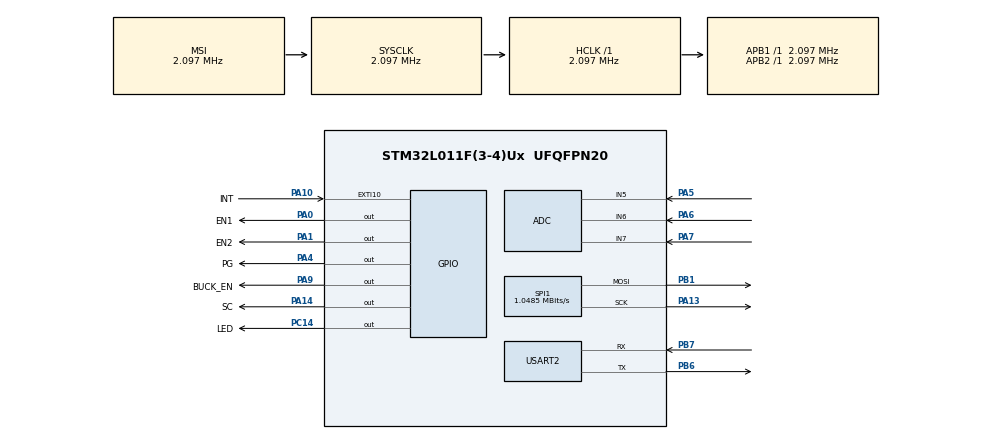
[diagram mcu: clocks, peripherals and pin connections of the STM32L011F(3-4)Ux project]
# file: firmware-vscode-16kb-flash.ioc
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ADC.ContinuousConvMode=ENABLE
ADC.SamplingTime=ADC_SAMPLETIME_160CYCLES_5
Mcu.Family=STM32L0
Mcu.Name=STM32L011F(3-4)Ux
Mcu.Package=UFQFPN20
NVIC.EXTI4_15_IRQn=true\:0\:0\:false\:false\:true\:true\:true\:true
NVIC.RCC_IRQn=true\:0\:0\:false\:false\:true\:true\:false\:true
NVIC.TIM2_IRQn=true\:0\:0\:false\:false\:true\:true\:true\:true
PA0-CK_IN.GPIO_Label=EN1
PA0-CK_IN.Signal=GPIO_Output
PA1.GPIO_Label=EN2
PA1.Signal=GPIO_Output
PA10.GPIO_Label=INT
PA10.Signal=GPXTI10
PA13.Mode=TX_Only_Simplex_Unidirect_Master
PA13.Signal=SPI1_SCK
PA14.GPIO_Label=SC
PA14.Signal=GPIO_Output
PA4.GPIO_Label=PG
PA4.Signal=GPIO_Output
PA5.Mode=IN5
PA5.Signal=ADC_IN5
PA6.Mode=IN6
PA6.Signal=ADC_IN6
PA7.Mode=IN7
PA7.Signal=ADC_IN7
PA9.GPIO_Label=BUCK_EN
PA9.Signal=GPIO_Output
PB1.Mode=TX_Only_Simplex_Unidirect_Master
PB1.Signal=SPI1_MOSI
PB6.Mode=Asynchronous
PB6.Signal=USART2_TX
PB7.Mode=Asynchronous
PB7.Signal=USART2_RX
PC14-OSC32_IN.GPIO_Label=LED
PC14-OSC32_IN.Signal=GPIO_Output
ProjectManager.HeapSize=0x200
ProjectManager.StackSize=0x400
ProjectManager.TargetToolchain=Makefile
RCC.AHBFreq_Value=2097000
RCC.APB1Freq_Value=2097000
RCC.APB1TimFreq_Value=2097000
RCC.APB2Freq_Value=2097000
RCC.APB2TimFreq_Value=2097000
RCC.HSE_VALUE=8000000
RCC.HSI16_VALUE=16000000
RCC.HSI_VALUE=16000000
RCC.LSE_VALUE=32768
RCC.MSI_VALUE=2097000
RCC.SYSCLKFreq_VALUE=2097000
RCC.VCOOutputFreq_Value=48000000
SPI1.CalculateBaudRate=1.0485 MBits/s
SPI1.Direction=SPI_DIRECTION_2LINES
SPI1.Mode=SPI_MODE_MASTER
SPI1.VirtualType=VM_MASTER
TIM2.AutoReloadPreload=TIM_AUTORELOAD_PRELOAD_ENABLE
TIM2.Period=1000
TIM2.Prescaler=2000
USART2.VirtualMode-Asynchronous=VM_ASYNC
VP_ADC_Vref_Input.Mode=IN-Vrefint
VP_TIM2_VS_ClockSourceINT.Mode=Internal
board=custom

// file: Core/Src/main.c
/* USER CODE BEGIN Header */
/**
  ******************************************************************************
  * @file           : main.c
  * @brief          : Main program body
  ******************************************************************************
  * @attention
  *
  * Copyright (c) 2023 STMicroelectronics.
  * All rights reserved.
  *
  * This software is licensed under terms that can be found in the LICENSE file
  * in the root directory of this software component.
  * If no LICENSE file comes with this software, it is provided AS-IS.
  *
  ******************************************************************************
  */
/* USER CODE END Header */
#include "main.h"

/* USER CODE BEGIN PD */

#define VREFINT_CAL_ADDR          ((uint16_t*) ((uint32_t) 0x1FF80078))
#define MIN_VOLTAGE               5000
#define MAX_VOLTAGE               22000
#define MIN_CURRENT               200
#define SLEEP_VOLTAGE             1000
#define MIN_CHARGE_CUTTOF_VOLTAGE 2600

/* USER CODE END PD */

ADC_HandleTypeDef hadc;

SPI_HandleTypeDef hspi1;

TIM_HandleTypeDef htim2;

UART_HandleTypeDef huart2;

void SystemClock_Config(void);
static void MX_GPIO_Init(void);
static void MX_ADC_Init(void);
static void MX_USART2_UART_Init(void);
static void MX_SPI1_Init(void);
static void MX_TIM2_Init(void);
/* USER CODE BEGIN PFP */

// *** Load switch functions *** //
void load_switch_enable(void);
void load_switch_disable(void);

// *** Blocking led functions *** //
void led_blink(uint16_t time_delay_1, uint16_t time_delay_2);

// *** Non blocking led functios *** //
void led_blink_nb(uint16_t time_delay_1, uint16_t time_delay_2);

// *** SAFELY ENABLE/DISABLE BUCK CONVERTER *** //
void Enable_buck_converter(void);
void Disable_buck_converter(void);

// *** Calculate CRC *** //
uint8_t calculate_crc_xor(const uint8_t *data, size_t length);

/* USER CODE END PFP */

/* USER CODE BEGIN 0 */

uint16_t ADC_CH5, ADC_CH6, ADC_CH7, ADC_REF;
uint16_t supply_voltage_mv = 0;
uint16_t input_voltage_mv = 0;
uint16_t buck_output_voltage_mv = 0;
uint16_t buck_current_ma = 0;
uint8_t previous_state = 0;
uint16_t timer_check = 0;

// Non blocking blink
uint8_t isOn;
uint32_t timestamp;

// Send message
uint8_t send_status = 1;

// Buffer keeping SPI commands to change resistance of programmable potentiometer
uint8_t spi_buffer [2] = {0, 0};

// State machine
typedef enum {INIT, START_CHARGING, CHARGING, STOP_CHARGING, OVER_VOLTAGE, SLEEP} State_type;
State_type current_state = INIT;

/* USER CODE END 0 */

int main(void)
{

  /* MCU Configuration--------------------------------------------------------*/

  /* Reset of all peripherals, Initializes the Flash interface and the Systick. */
  HAL_Init();

  /* Configure the system clock */
  SystemClock_Config();

  /* Initialize all configured peripherals */
  MX_GPIO_Init();
  MX_ADC_Init();
  MX_USART2_UART_Init();
  MX_SPI1_Init();
  MX_TIM2_Init();
  /* USER CODE BEGIN 2 */

  // Calibrate ADC
  HAL_ADCEx_Calibration_Start(&hadc, ADC_SINGLE_ENDED);

  // Start timer
  HAL_TIM_Base_Start_IT(&htim2);

  /* USER CODE END 2 */

  /* Infinite loop */
  while (1)
  {

    /* USER CODE BEGIN 3 */

    // Delay (prevent sampling ADC to quickly)
    HAL_Delay(100);

    // Start ADC Conversion and read two ADC values
		HAL_ADC_Start(&hadc);

    // ADC_CHANNEL_5 & Read The ADC Conversion Result
    HAL_ADC_PollForConversion(&hadc, 100);
		ADC_CH5 = HAL_ADC_GetValue(&hadc);

    // ADC_CHANNEL_6 & Read The ADC Conversion Result
    HAL_ADC_PollForConversion(&hadc, 100);
		ADC_CH6 = HAL_ADC_GetValue(&hadc);

    // ADC_CHANNEL_7 & Read The ADC Conversion Result
    HAL_ADC_PollForConversion(&hadc, 100);
		ADC_CH7 = HAL_ADC_GetValue(&hadc);

    // ADC_CHANNEL_VREFINT & Read The ADC Conversion Result
    HAL_ADC_PollForConversion(&hadc, 100);
		ADC_REF = HAL_ADC_GetValue(&hadc);

    // Stop ADC Conversion
    HAL_ADC_Stop(&hadc);

    // Calculate supply voltage MCU
    supply_voltage_mv = 1200*4096/ADC_REF;

    // Calculate input voltage BUCK converter
    input_voltage_mv = ADC_CH5*supply_voltage_mv/4096*224700/4700;

    // Calculate buck converter output voltage
    buck_output_voltage_mv = ADC_CH7*supply_voltage_mv/4096*71000/15000;

    // Calculate buck converter output current
    buck_current_ma = ADC_CH6*supply_voltage_mv/4096*1000/780;

    if(input_voltage_mv > MAX_VOLTAGE){
      current_state = OVER_VOLTAGE;
    }

    ///////////////////////////
    // *** State machine *** //
    ///////////////////////////

    switch (current_state){
      case INIT:
        // No charging may occur in the INIT phase
        Disable_buck_converter();

        // Check input voltage before start charging
        if(input_voltage_mv < MAX_VOLTAGE && input_voltage_mv > MIN_VOLTAGE){
          current_state = START_CHARGING;
          break;
        }

        // Check input voltage in not below minimum voltage
        if(input_voltage_mv < SLEEP_VOLTAGE){
          current_state = SLEEP;
        }

        HAL_GPIO_WritePin(SC_GPIO_Port, SC_Pin, GPIO_PIN_RESET);
        spi_buffer[1] = 100;
        HAL_SPI_Transmit(&hspi1, spi_buffer, 2, 100);
        HAL_GPIO_WritePin(SC_GPIO_Port, SC_Pin, GPIO_PIN_SET);

        // Blink led
        led_blink_nb(500, 500);
      break;
      case START_CHARGING:
        // Enable buck converter safely
        Enable_buck_converter();

        // Change state
        current_state = CHARGING;
      break;
      case CHARGING:
        led_blink_nb(100, 900);

        // If under voltage occurs, wait for enough voltage to resume
        if(input_voltage_mv < MIN_VOLTAGE){
          current_state = INIT;
          break;
        }

        // Check for current lower then MIN_CURRENT after 10 sec
        if(buck_current_ma < MIN_CURRENT && timer_check > 10 && supply_voltage_mv > MIN_CHARGE_CUTTOF_VOLTAGE){
          timer_check = 0;
          current_state = STOP_CHARGING;
        }

        HAL_GPIO_WritePin(SC_GPIO_Port, SC_Pin, GPIO_PIN_RESET);
        spi_buffer[1] = 100;
        HAL_SPI_Transmit(&hspi1, spi_buffer, 2, 200);
        HAL_GPIO_WritePin(SC_GPIO_Port, SC_Pin, GPIO_PIN_SET);

        timer_check++;

      break;
      case STOP_CHARGING:
        // Disable buck conveter safely
        Disable_buck_converter();

        // SEND MESSAGE TO TRANSMITTER

        // if(buck_current_ma < MIN_CURRENT && supply_voltage_mv > MIN_CHARGE_CUTTOF_VOLTAGE){
        //   current_state = SLEEP;
        // }
        // else{
        //   current_state = INIT;
        // }
        current_state = SLEEP;
      break;
      case OVER_VOLTAGE:
        led_blink_nb(100, 100);

        // Disable buck conveter safely
        Disable_buck_converter();

        // Check for save voltage
        if(input_voltage_mv < MAX_VOLTAGE){
          current_state = INIT;
        }
      break;
      case SLEEP:

        // Disable LED
        HAL_GPIO_WritePin(LED_GPIO_Port, LED_Pin, GPIO_PIN_RESET);

        // Check if input voltage is above 2 V and enable timer interrupt

        // Reconfigure GPIO pins for sleep mode: EN1_Pin EN2_Pin PG_Pin BUCK_EN_Pin
        // GPIO_InitTypeDef GPIO_InitStruct;
        // GPIO_InitStruct.Pin = EN1_Pin|EN2_Pin|PG_Pin|BUCK_EN_Pin;
        // GPIO_InitStruct.Mode = GPIO_MODE_ANALOG;
        // GPIO_InitStruct.Pull = GPIO_NOPULL;
        // HAL_GPIO_Init(GPIOA, &GPIO_InitStruct);

        // Disable the systick interrupt
        HAL_SuspendTick();

        // Enter Stop Mode
        HAL_PWR_EnterSTOPMode(PWR_LOWPOWERREGULATOR_ON, PWR_STOPENTRY_WFI);

        // Change state
        current_state = INIT;

      break;
      default:
      current_state = INIT;
      break;
    }

    if(send_status){
      send_status = 0;
      uint8_t length = 11;
      uint8_t buffer [length];
      buffer [0] = 0x02;
      buffer [1] = length;
      buffer [2] = (input_voltage_mv >> 8);
      buffer [3] = (uint8_t)(input_voltage_mv);
      buffer [4] = (buck_output_voltage_mv >> 8);
      buffer [5] = (uint8_t)(buck_output_voltage_mv);
      buffer [6] = (buck_current_ma >> 8);
      buffer [7] = (uint8_t)(buck_current_ma);
      buffer [8] = (supply_voltage_mv >> 8);
      buffer [9] = (uint8_t)(supply_voltage_mv);
      buffer [10] = calculate_crc_xor(buffer, length-1);//0xFF;
      HAL_UART_Transmit(&huart2, buffer, length, 100);
    }

  }
  /* USER CODE END 3 */
}

void SystemClock_Config(void)
{
  RCC_OscInitTypeDef RCC_OscInitStruct = {0};
  RCC_ClkInitTypeDef RCC_ClkInitStruct = {0};
  RCC_PeriphCLKInitTypeDef PeriphClkInit = {0};

  /** Configure the main internal regulator output voltage
  */
  __HAL_PWR_VOLTAGESCALING_CONFIG(PWR_REGULATOR_VOLTAGE_SCALE1);

  /** Initializes the RCC Oscillators according to the specified parameters
  * in the RCC_OscInitTypeDef structure.
  */
  RCC_OscInitStruct.OscillatorType = RCC_OSCILLATORTYPE_MSI;
  RCC_OscInitStruct.MSIState = RCC_MSI_ON;
  RCC_OscInitStruct.MSICalibrationValue = 0;
  RCC_OscInitStruct.MSIClockRange = RCC_MSIRANGE_5;
  RCC_OscInitStruct.PLL.PLLState = RCC_PLL_NONE;
  if (HAL_RCC_OscConfig(&RCC_OscInitStruct) != HAL_OK)
  {
    Error_Handler();
  }

  /** Initializes the CPU, AHB and APB buses clocks
  */
  RCC_ClkInitStruct.ClockType = RCC_CLOCKTYPE_HCLK|RCC_CLOCKTYPE_SYSCLK
                              |RCC_CLOCKTYPE_PCLK1|RCC_CLOCKTYPE_PCLK2;
  RCC_ClkInitStruct.SYSCLKSource = RCC_SYSCLKSOURCE_MSI;
  RCC_ClkInitStruct.AHBCLKDivider = RCC_SYSCLK_DIV1;
  RCC_ClkInitStruct.APB1CLKDivider = RCC_HCLK_DIV1;
  RCC_ClkInitStruct.APB2CLKDivider = RCC_HCLK_DIV1;

  if (HAL_RCC_ClockConfig(&RCC_ClkInitStruct, FLASH_LATENCY_0) != HAL_OK)
  {
    Error_Handler();
  }
  PeriphClkInit.PeriphClockSelection = RCC_PERIPHCLK_USART2;
  PeriphClkInit.Usart2ClockSelection = RCC_USART2CLKSOURCE_PCLK1;
  if (HAL_RCCEx_PeriphCLKConfig(&PeriphClkInit) != HAL_OK)
  {
    Error_Handler();
  }
}

static void MX_ADC_Init(void)
{

  ADC_ChannelConfTypeDef sConfig = {0};

  /** Configure the global features of the ADC (Clock, Resolution, Data Alignment and number of conversion)
  */
  hadc.Instance = ADC1;
  hadc.Init.OversamplingMode = DISABLE;
  hadc.Init.ClockPrescaler = ADC_CLOCK_SYNC_PCLK_DIV1;
  hadc.Init.Resolution = ADC_RESOLUTION_12B;
  hadc.Init.SamplingTime = ADC_SAMPLETIME_160CYCLES_5;
  hadc.Init.ScanConvMode = ADC_SCAN_DIRECTION_FORWARD;
  hadc.Init.DataAlign = ADC_DATAALIGN_RIGHT;
  hadc.Init.ContinuousConvMode = ENABLE;
  hadc.Init.DiscontinuousConvMode = DISABLE;
  hadc.Init.ExternalTrigConvEdge = ADC_EXTERNALTRIGCONVEDGE_NONE;
  hadc.Init.ExternalTrigConv = ADC_SOFTWARE_START;
  hadc.Init.DMAContinuousRequests = DISABLE;
  hadc.Init.EOCSelection = ADC_EOC_SINGLE_CONV;
  hadc.Init.Overrun = ADC_OVR_DATA_PRESERVED;
  hadc.Init.LowPowerAutoWait = DISABLE;
  hadc.Init.LowPowerFrequencyMode = ENABLE;
  hadc.Init.LowPowerAutoPowerOff = DISABLE;
  if (HAL_ADC_Init(&hadc) != HAL_OK)
  {
    Error_Handler();
  }

  /** Configure for the selected ADC regular channel to be converted.
  */
  sConfig.Channel = ADC_CHANNEL_5;
  sConfig.Rank = ADC_RANK_CHANNEL_NUMBER;
  if (HAL_ADC_ConfigChannel(&hadc, &sConfig) != HAL_OK)
  {
    Error_Handler();
  }

  /** Configure for the selected ADC regular channel to be converted.
  */
  sConfig.Channel = ADC_CHANNEL_6;
  if (HAL_ADC_ConfigChannel(&hadc, &sConfig) != HAL_OK)
  {
    Error_Handler();
  }

  /** Configure for the selected ADC regular channel to be converted.
  */
  sConfig.Channel = ADC_CHANNEL_7;
  if (HAL_ADC_ConfigChannel(&hadc, &sConfig) != HAL_OK)
  {
    Error_Handler();
  }

  /** Configure for the selected ADC regular channel to be converted.
  */
  sConfig.Channel = ADC_CHANNEL_VREFINT;
  if (HAL_ADC_ConfigChannel(&hadc, &sConfig) != HAL_OK)
  {
    Error_Handler();
  }

}

static void MX_SPI1_Init(void)
{

  /* SPI1 parameter configuration*/
  hspi1.Instance = SPI1;
  hspi1.Init.Mode = SPI_MODE_MASTER;
  hspi1.Init.Direction = SPI_DIRECTION_2LINES;
  hspi1.Init.DataSize = SPI_DATASIZE_8BIT;
  hspi1.Init.CLKPolarity = SPI_POLARITY_LOW;
  hspi1.Init.CLKPhase = SPI_PHASE_1EDGE;
  hspi1.Init.NSS = SPI_NSS_SOFT;
  hspi1.Init.BaudRatePrescaler = SPI_BAUDRATEPRESCALER_2;
  hspi1.Init.FirstBit = SPI_FIRSTBIT_MSB;
  hspi1.Init.TIMode = SPI_TIMODE_DISABLE;
  hspi1.Init.CRCCalculation = SPI_CRCCALCULATION_DISABLE;
  hspi1.Init.CRCPolynomial = 7;
  if (HAL_SPI_Init(&hspi1) != HAL_OK)
  {
    Error_Handler();
  }

}

static void MX_TIM2_Init(void)
{

  TIM_ClockConfigTypeDef sClockSourceConfig = {0};
  TIM_MasterConfigTypeDef sMasterConfig = {0};

  htim2.Instance = TIM2;
  htim2.Init.Prescaler = 2000;
  htim2.Init.CounterMode = TIM_COUNTERMODE_UP;
  htim2.Init.Period = 1000;
  htim2.Init.ClockDivision = TIM_CLOCKDIVISION_DIV1;
  htim2.Init.AutoReloadPreload = TIM_AUTORELOAD_PRELOAD_ENABLE;
  if (HAL_TIM_Base_Init(&htim2) != HAL_OK)
  {
    Error_Handler();
  }
  sClockSourceConfig.ClockSource = TIM_CLOCKSOURCE_INTERNAL;
  if (HAL_TIM_ConfigClockSource(&htim2, &sClockSourceConfig) != HAL_OK)
  {
    Error_Handler();
  }
  sMasterConfig.MasterOutputTrigger = TIM_TRGO_RESET;
  sMasterConfig.MasterSlaveMode = TIM_MASTERSLAVEMODE_DISABLE;
  if (HAL_TIMEx_MasterConfigSynchronization(&htim2, &sMasterConfig) != HAL_OK)
  {
    Error_Handler();
  }

}

static void MX_USART2_UART_Init(void)
{

  huart2.Instance = USART2;
  huart2.Init.BaudRate = 115200;
  huart2.Init.WordLength = UART_WORDLENGTH_8B;
  huart2.Init.StopBits = UART_STOPBITS_1;
  huart2.Init.Parity = UART_PARITY_NONE;
  huart2.Init.Mode = UART_MODE_TX_RX;
  huart2.Init.HwFlowCtl = UART_HWCONTROL_NONE;
  huart2.Init.OverSampling = UART_OVERSAMPLING_16;
  huart2.Init.OneBitSampling = UART_ONE_BIT_SAMPLE_DISABLE;
  huart2.AdvancedInit.AdvFeatureInit = UART_ADVFEATURE_NO_INIT;
  if (HAL_UART_Init(&huart2) != HAL_OK)
  {
    Error_Handler();
  }

}

static void MX_GPIO_Init(void)
{
  GPIO_InitTypeDef GPIO_InitStruct = {0};

  /* GPIO Ports Clock Enable */
  __HAL_RCC_GPIOC_CLK_ENABLE();
  __HAL_RCC_GPIOA_CLK_ENABLE();
  __HAL_RCC_GPIOB_CLK_ENABLE();

  /*Configure GPIO pin Output Level */
  HAL_GPIO_WritePin(LED_GPIO_Port, LED_Pin, GPIO_PIN_RESET);

  /*Configure GPIO pin Output Level */
  HAL_GPIO_WritePin(GPIOA, EN1_Pin|EN2_Pin|PG_Pin|BUCK_EN_Pin
                          |SC_Pin, GPIO_PIN_RESET);

  /*Configure GPIO pin : LED_Pin */
  GPIO_InitStruct.Pin = LED_Pin;
  GPIO_InitStruct.Mode = GPIO_MODE_OUTPUT_PP;
  GPIO_InitStruct.Pull = GPIO_NOPULL;
  GPIO_InitStruct.Speed = GPIO_SPEED_FREQ_LOW;
  HAL_GPIO_Init(LED_GPIO_Port, &GPIO_InitStruct);

  /*Configure GPIO pins : EN1_Pin EN2_Pin PG_Pin BUCK_EN_Pin
                           SC_Pin */
  GPIO_InitStruct.Pin = EN1_Pin|EN2_Pin|PG_Pin|BUCK_EN_Pin
                          |SC_Pin;
  GPIO_InitStruct.Mode = GPIO_MODE_OUTPUT_PP;
  GPIO_InitStruct.Pull = GPIO_NOPULL;
  GPIO_InitStruct.Speed = GPIO_SPEED_FREQ_LOW;
  HAL_GPIO_Init(GPIOA, &GPIO_InitStruct);

  /*Configure GPIO pin : INT_Pin */
  GPIO_InitStruct.Pin = INT_Pin;
  GPIO_InitStruct.Mode = GPIO_MODE_IT_RISING;
  GPIO_InitStruct.Pull = GPIO_NOPULL;
  HAL_GPIO_Init(INT_GPIO_Port, &GPIO_InitStruct);

  /* EXTI interrupt init*/
  HAL_NVIC_SetPriority(EXTI4_15_IRQn, 0, 0);
  HAL_NVIC_EnableIRQ(EXTI4_15_IRQn);

}

/* USER CODE BEGIN 4 */

// *** Load Switch functions *** //
// Enable load switch 1 and 2
void load_switch_enable(void){
  HAL_GPIO_WritePin(EN1_GPIO_Port, EN1_Pin, GPIO_PIN_SET);
  HAL_GPIO_WritePin(EN2_GPIO_Port, EN2_Pin, GPIO_PIN_SET);
}

// Disable load switch 1 and 2
void load_switch_disable(void){
  HAL_GPIO_WritePin(EN1_GPIO_Port, EN1_Pin, GPIO_PIN_RESET);
  HAL_GPIO_WritePin(EN2_GPIO_Port, EN2_Pin, GPIO_PIN_RESET);
}

void led_blink(uint16_t time_delay_1, uint16_t time_delay_2){
  HAL_GPIO_WritePin(LED_GPIO_Port, LED_Pin, GPIO_PIN_RESET);
  HAL_Delay(time_delay_1);
  HAL_GPIO_WritePin(LED_GPIO_Port, LED_Pin, GPIO_PIN_SET);
  HAL_Delay(time_delay_2);
}

void led_blink_nb(uint16_t time_delay_1, uint16_t time_delay_2){
  uint32_t currentTime = HAL_GetTick();  // Get current timestamp (implementation-dependent)

  if (isOn) {
    if (currentTime - timestamp >= time_delay_1) {
      isOn = 0;
      timestamp = currentTime;
      HAL_GPIO_WritePin(LED_GPIO_Port, LED_Pin, GPIO_PIN_RESET);
    }
  } else {
    if (currentTime - timestamp >= time_delay_2) {
      isOn = 1;
      timestamp = currentTime;
      HAL_GPIO_WritePin(LED_GPIO_Port, LED_Pin, GPIO_PIN_SET);
    }
  }
}

// *** WAKE UP *** //
void HAL_GPIO_EXTI_Callback(uint16_t GPIO_Pin)
{
  //if(GPIO_Pin == INT_Pin)
  //{
	  SystemClock_Config();
	  HAL_ResumeTick();
  //}
}

// *** SAFELY ENABLE/DISABLE BUCK CONVERTER *** //
void Enable_buck_converter(void){
  // Enable load switches
  load_switch_enable();

  HAL_Delay(100);

  // Enable CC/CV buck converter
  HAL_GPIO_WritePin(BUCK_EN_GPIO_Port, BUCK_EN_Pin, GPIO_PIN_SET);

  // Connect input voltage to buck converter
  HAL_GPIO_WritePin(PG_GPIO_Port, PG_Pin, GPIO_PIN_SET);
}

void Disable_buck_converter(void){
    // Disable CC/CV buck converter
  HAL_GPIO_WritePin(BUCK_EN_GPIO_Port, BUCK_EN_Pin, GPIO_PIN_RESET);

  // Disconnect input voltage from buck converter
  HAL_GPIO_WritePin(PG_GPIO_Port, PG_Pin, GPIO_PIN_RESET);

  // Disable load switches
  load_switch_disable();
}

// *** TIMER INTEGRATION *** //
void HAL_TIM_PeriodElapsedCallback(TIM_HandleTypeDef* htim){
  send_status = 1;
}

// *** Calculate CRC *** //
uint8_t calculate_crc_xor(const uint8_t *data, size_t length) {
    uint8_t crc = 0;
    size_t i;

    for (i = 0; i < length; i++) {
        crc ^= data[i];
    }

    return crc;
}

/* USER CODE END 4 */

void Error_Handler(void)
{
  __disable_irq();
  while (1)
  {
  }
}
